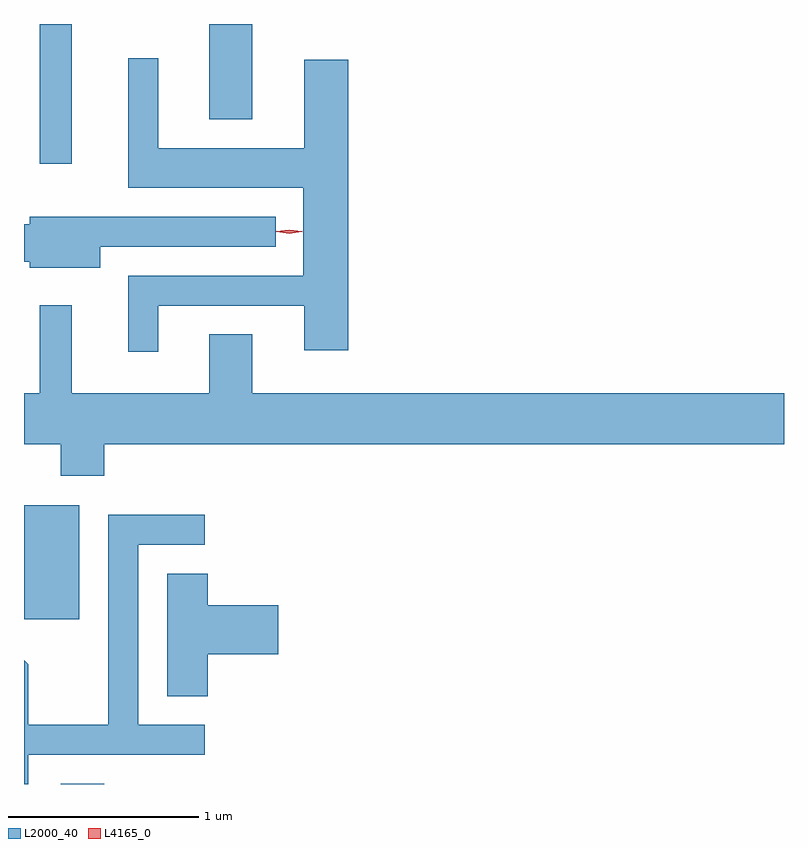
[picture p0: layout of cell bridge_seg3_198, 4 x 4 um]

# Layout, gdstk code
import gdstk
lib = gdstk.Library(unit=1e-6, precision=1e-09)
def R(c, l, rs):  # rectangles x0, y0, x1, y1
    for r in rs: c.add(gdstk.rectangle(r[:2], r[2:], *l))
def P(c, l, *ps):  # polygons
    for p in ps: c.add(gdstk.Polygon(p, *l))
L2000_40 = (2000, 40)
L4165_0 = (4165, 0)

bridge_seg3_198 = lib.new_cell('bridge_seg3_198')
R(bridge_seg3_198, L2000_40, [(1063.871,1181.948,1064.099,1181.949), (1063.677,1182.816,1063.969,1183.414), (1063.761,1185.213,1063.929,1185.948), (1064.651,1185.446,1064.879,1185.948)])
P(bridge_seg3_198, L2000_40, [(1064.384,1184.466),(1065.151,1184.466),(1065.151,1184.231),(1065.384,1184.231),(1065.384,1185.759),(1065.151,1185.759),(1065.151,1185.294),(1064.384,1185.294),(1064.384,1185.768),(1064.226,1185.768),(1064.226,1185.086),(1065.146,1185.086),(1065.146,1184.624),(1064.226,1184.624),(1064.226,1184.223),(1064.384,1184.223)],
  [(1064.079,1184.776),(1065.003,1184.776),(1065.003,1184.934),(1063.706,1184.934),(1063.706,1184.894),(1063.677,1184.894),(1063.677,1184.696),(1063.706,1184.696),(1063.706,1184.666),(1064.079,1184.666)],
  [(1064.099,1183.736),(1067.677,1183.736),(1067.677,1184.004),(1064.879,1184.004),(1064.879,1184.314),(1064.651,1184.314),(1064.651,1184.004),(1063.929,1184.004),(1063.929,1184.468),(1063.761,1184.468),(1063.761,1184.004),(1063.677,1184.004),(1063.677,1183.736),(1063.871,1183.736),(1063.871,1183.571),(1064.099,1183.571)],
  [(1063.699,1182.101),(1064.628,1182.101),(1064.628,1182.259),(1064.279,1182.259),(1064.279,1183.206),(1064.628,1183.206),(1064.628,1183.364),(1064.121,1183.364),(1064.121,1182.259),(1063.699,1182.259),(1063.699,1182.577),(1063.677,1182.599),(1063.677,1181.948),(1063.699,1181.948)],
  [(1064.644,1182.631),(1065.014,1182.631),(1065.014,1182.889),(1064.644,1182.889),(1064.644,1183.054),(1064.431,1183.054),(1064.431,1182.411),(1064.644,1182.411)])
P(bridge_seg3_198, L4165_0, [(1065.073,1184.845),(1065.007,1184.854),(1065.007,1184.855),(1065.007,1184.856),(1065.073,1184.865),(1065.139,1184.856),(1065.139,1184.855),(1065.139,1184.854)],
  [(1065.073,1184.845),(1065.004,1184.854),(1065.004,1184.855),(1065.004,1184.856),(1065.073,1184.865),(1065.142,1184.856),(1065.142,1184.855),(1065.142,1184.854)])

lib.write_gds('bridge_seg3_198.gds')
